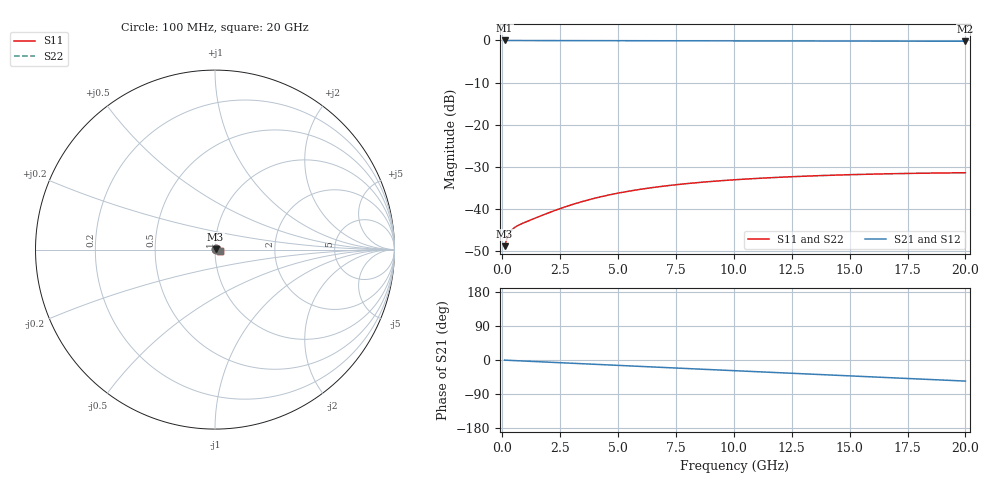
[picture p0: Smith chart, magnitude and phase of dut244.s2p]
! Touchstone file exported from HFSS 2026.1.0
!  File:  C:/ffzhzh/LocalFiles/Ansys_Project_Files/temp_train_TMRDL_244_1782984722_45328.aedt
!  Generated:  05:33:25 PM Jul  2, 2026
!  Design:  TMRDL
!  Project:  temp_train_TMRDL_244_1782984722_45328
! Variables:
!  h_bsmrdl = 2um
!  h_ox = 20um
!  h_rdl = 5um
!  h_sub = 80um
!  h_tmrdl = 3.87um
!  h_tsv = 80um
!  h_via = 3um
!  l_bsmrdl = 300um
!  l_sub = 1391.76um
!  l_tmrdl = 991.76um
!  m_sub = 200um
!  pitch = 35.28um
!  r_tsv = 6um
!  s_tmrdl = 10um
!  w_bsmrdl = 18um
!  w_sub = 500um
!  w_tmrdl = 29.95um
!  x_tsv_center1 = 1006.735um
!  x_tsv_center2 = 1324.735um
!  x_tsv_center3 = 2346.445um
!  x_tsv_center4 = 2664.445um
!  x_tsv_center5 = 3686.155um
!  x_tsv_center6 = 4004.155um
# GHz S MA R 50.000000
! Terminal data exported
! Port[1] = TM_RDL1_1_T1
! Port[2] = TM_RDL1_1_T2
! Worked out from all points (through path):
!   200 points, 100 MHz to 20 GHz, reference 50 ohm
!   highest |S21| = -0.03 dB at 100 MHz (marker M1); lowest = -0.2 dB at 20 GHz (marker M2)
!   group delay of S21, straight-line fit = 7.7 ps
!   lowest |S11| = -48.8 dB at 100 MHz (marker M3), VSWR 1.01, Z = 50.3 + j0.112 ohm
!   |S11| at or under -10 dB: start of sweep to end of sweep
!   |S22| runs from -48.8 to -31.4 dB; largest |S21 - S12| = 1.7e-14
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0.1  0.003644 17.8  0.9965 -0.3  0.9965 -0.3  0.003644 17.8
! Gamma 0 0 0 0
! Port Impedance 50 0 50 0
0.2  0.004468 24.2  0.9959 -0.7  0.9959 -0.7  0.004468 24.2
0.3  0.005143 25.4  0.9954 -0.9  0.9954 -0.9  0.005143 25.4
0.4  0.00562 25.3  0.995 -1.2  0.995 -1.2  0.00562 25.3
0.5  0.005963 25.2  0.9947 -1.5  0.9947 -1.5  0.005963 25.2
0.6  0.006229 25.3  0.9945 -1.8  0.9945 -1.8  0.006228 25.4
0.8  0.006652 26.3  0.9942 -2.4  0.9942 -2.4  0.006652 26.3
1  0.007028 27.7  0.994 -2.9  0.994 -2.9  0.007027 27.8
2.1  0.009265 34.6  0.993 -6.1  0.993 -6.1  0.009263 34.7
2.8  0.01084 36.1  0.9922 -8.1  0.9922 -8.1  0.01084 36.2
3.5  0.01241 36.0  0.9913 -10.0  0.9913 -10.0  0.0124 36.0
4.2  0.0139 34.8  0.9904 -12.0  0.9904 -12.0  0.0139 34.9
5  0.01548 32.7  0.9893 -14.3  0.9893 -14.3  0.01547 32.8
5.9  0.01708 29.9  0.9881 -16.8  0.9881 -16.8  0.01707 30.0
6.8  0.01849 26.8  0.9869 -19.3  0.9869 -19.3  0.01848 27.0
8.3  0.02048 21.6  0.9851 -23.5  0.9851 -23.5  0.02046 21.8
10.1  0.02236 15.4  0.9831 -28.4  0.9831 -28.4  0.02234 15.7
11.7  0.02368 10.1  0.9816 -32.8  0.9816 -32.8  0.02366 10.4
13.4  0.02479 4.6  0.9801 -37.5  0.9801 -37.5  0.02476 5.0
16.7  0.02626 -5.7  0.9776 -46.6  0.9776 -46.6  0.02624 -5.3
18.4  0.02672 -10.9  0.9765 -51.3  0.9765 -51.3  0.02671 -10.4
20  0.02699 -15.7  0.9754 -55.6  0.9754 -55.6  0.02698 -15.3
